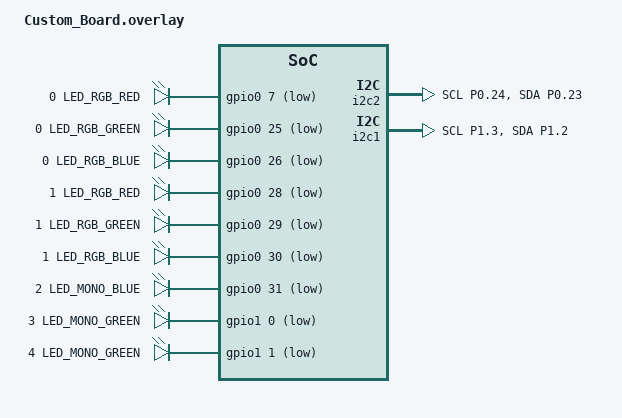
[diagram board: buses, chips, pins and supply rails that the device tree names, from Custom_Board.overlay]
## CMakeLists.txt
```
# SPDX-License-Identifier: Apache-2.0

cmake_minimum_required(VERSION 3.20.0)
find_package(Zephyr REQUIRED HINTS $ENV{ZEPHYR_BASE})
project(bap_broadcast_source)

target_sources(app PRIVATE
  src/main.c
)

if (CONFIG_USE_I2S_CODEC_INPUT)
  target_sources(app PRIVATE
    src/codec_sgtl5000.c
    src/i2c_helpers.c
    src/pmic.c
  )
endif()

if (CONFIG_USE_USB_AUDIO_INPUT)
  include(${ZEPHYR_BASE}/samples/subsys/usb/common/common.cmake)
endif()
```

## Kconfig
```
# Copyright (c) 2023 Demant A/S
# Copyright (c) 2023 Nordic Semiconductor ASA
# SPDX-License-Identifier: Apache-2.0

mainmenu "Bluetooth: Broadcast Audio Source"

choice BAP_LC3_PRESET
	prompt "The BAP LC3 Preset to be used"
	default BAP_BROADCAST_16_2_1

config BAP_BROADCAST_16_2_1
	bool "BAP_LC3_BROADCAST_PRESET_16_2_1 preset"
	help
	  Using the BAP_LC3_BROADCAST_PRESET_16_2_1 preset.

config BAP_BROADCAST_24_2_1
	bool "BAP_LC3_BROADCAST_PRESET_24_2_1 preset"
	help
	  Using the BAP_LC3_BROADCAST_PRESET_24_2_1 preset.

config BAP_BROADCAST_32_2_1
	bool "BAP_LC3_BROADCAST_PRESET_32_2_1 preset"
	help
	  Using the BAP_LC3_BROADCAST_PRESET_32_2_1 preset.

config BAP_BROADCAST_48_2_1
	bool "BAP_LC3_BROADCAST_PRESET_48_2_1 preset"
	help
	  Using the BAP_LC3_BROADCAST_PRESET_48_2_1 preset.

endchoice

config ENABLE_LC3
	bool "Enable the LC3 codec"
	# By default let's enable it in the platforms we know are capable of supporting it
	default y
	depends on CPU_HAS_FPU && \
		(ARCH_POSIX || SOC_COMPATIBLE_NRF52X || SOC_COMPATIBLE_NRF5340_CPUAPP)
	select LIBLC3
	select FPU

config ISO_PACKING_INTERLEAVED
	bool "Use interleaved packing"
	help
	  Use interleaved packing between BIS ISO stream subevents.

config USE_USB_AUDIO_INPUT
	bool "Use USB Audio as input"
	# By default, use the USB Audio path is disabled.
	default n
	depends on ENABLE_LC3
	select USB_DEVICE_STACK_NEXT
	select USBD_AUDIO2_CLASS
	select RING_BUFFER

config USE_I2S_CODEC_INPUT
	bool "Use SGTL5000 over I2S as input"
	default n
	depends on ENABLE_LC3
	depends on BOARD_NRF5340_AUDIO_DK_NRF5340_CPUAPP
	depends on !USE_USB_AUDIO_INPUT
	select I2C
	select I2S
	select RING_BUFFER
	help
	  Use the external SGTL5000 codec connected over I2S as the PCM source
	  for the broadcast streams.

config BROADCAST_CODE
	string "The broadcast code (if any) to use for encrypted broadcast"
	default ""
	help
	   Setting a non-empty string for this option will encrypt the broadcast using this
	   string as the broadcast code. The length of the string shall be between 1 and 16 octets.

config STATIC_BROADCAST_ID
	bool "Use static broadcast ID"
	default y
	help
	   Enabling this option will make the application use static broadcast ID, as opposed to a
	   randomly generated one.

config BROADCAST_ID
	hex "The static broadcast ID to use"
	range 0x000000 0xFFFFFF
	depends on STATIC_BROADCAST_ID
	help
	   This is the 3-octet broadcast ID advertised if static broadcast IDs are enabled.

# Source common USB sample options used to initialize new experimental USB device stack.
# The scope of these options is limited to USB samples in project tree,
# you cannot use them in your own application.
source "samples/subsys/usb/common/Kconfig.sample_usbd"

source "Kconfig.zephyr"
```

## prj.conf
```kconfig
CONFIG_MAIN_STACK_SIZE=2048

CONFIG_USE_USB_AUDIO_INPUT=n

CONFIG_BT=y
CONFIG_LOG=y
CONFIG_BT_AUDIO=y
CONFIG_BT_ISO_BROADCASTER=y
CONFIG_BT_BAP_BROADCAST_SOURCE=y

CONFIG_BT_ISO_MAX_CHAN=2
CONFIG_BT_BAP_BROADCAST_SRC_STREAM_COUNT=2
# Two streams in one subgroup (stereo)
CONFIG_BT_BAP_BROADCAST_SRC_SUBGROUP_COUNT=1

# Uncomment below to use Broadcast ISO interleaved packing
# CONFIG_ISO_PACKING_INTERLEAVED=y

CONFIG_BT_ISO_TX_BUF_COUNT=8
CONFIG_BT_ISO_TX_MTU=80

CONFIG_BT_DEVICE_NAME="Broadcast Audio Source"
CONFIG_BROADCAST_ID=0x123456

CONFIG_LIBLC3=y
CONFIG_BAP_BROADCAST_32_2_1=y
```

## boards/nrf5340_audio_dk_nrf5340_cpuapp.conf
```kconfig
# Use USB Audio as audio source
CONFIG_USE_USB_AUDIO_INPUT=n
CONFIG_USE_I2S_CODEC_INPUT=y
#CONFIG_SAMPLE_USBD_PRODUCT="USB Broadcast Source sample"
```

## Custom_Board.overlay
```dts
&{/} {
    leds {
        compatible = "gpio-leds";

        rgb1_red: led_0 {
			gpios = <&gpio0 7 (GPIO_ACTIVE_LOW | GPIO_OPEN_DRAIN)>;
			label = "0 LED_RGB_RED";
		};

		rgb1_green: led_1 {
			gpios = <&gpio0 25 (GPIO_ACTIVE_LOW | GPIO_OPEN_DRAIN)>;
			label = "0 LED_RGB_GREEN";
		};

		rgb1_blue: led_2 {
			gpios = <&gpio0 26 (GPIO_ACTIVE_LOW | GPIO_OPEN_DRAIN)>;
			label = "0 LED_RGB_BLUE";
		};

		rgb2_red: led_3 {
			gpios = <&gpio0 28 (GPIO_ACTIVE_LOW | GPIO_OPEN_DRAIN)>;
			label = "1 LED_RGB_RED";
		};

		rgb2_green: led_4 {
			gpios = <&gpio0 29 (GPIO_ACTIVE_LOW | GPIO_OPEN_DRAIN)>;
			label = "1 LED_RGB_GREEN";
		};

		rgb2_blue: led_5 {
			gpios = <&gpio0 30 (GPIO_ACTIVE_LOW | GPIO_OPEN_DRAIN)>;
			label = "1 LED_RGB_BLUE";
		};

		led1_blue: led_6 {
			gpios = <&gpio0 31 (GPIO_ACTIVE_LOW | GPIO_OPEN_DRAIN)>;
			label = "2 LED_MONO_BLUE";
		};

		led2_green: led_7 {
			gpios = <&gpio1 0 (GPIO_ACTIVE_LOW | GPIO_OPEN_DRAIN)>;
			label = "3 LED_MONO_GREEN";
		};

		led3_green: led_8 {
			gpios = <&gpio1 1 (GPIO_ACTIVE_LOW | GPIO_OPEN_DRAIN)>;
			label = "4 LED_MONO_GREEN";
		};
    };
};

&i2c2 {
    status = "okay";
    pinctrl-0 = <&i2c2_default>;
    pinctrl-1 = <&i2c2_sleep>;
    pinctrl-names = "default", "sleep";
};

&pinctrl {
    i2c2_default: i2c2_default {
        group1 {
            psels = <NRF_PSEL(TWIM_SCL, 0, 24)>, <NRF_PSEL(TWIM_SDA, 0, 23)>;
        };
    };

    i2c2_sleep: i2c2_sleep {
        group1 {
            psels = <NRF_PSEL(TWIM_SCL, 0, 24)>, <NRF_PSEL(TWIM_SDA, 0, 23)>;
        };
    };
};

&i2c1 {
    status = "okay";
    pinctrl-0 = <&i2c1_default>;
    pinctrl-1 = <&i2c1_sleep>;
    pinctrl-names = "default", "sleep";
};

&pinctrl {
    i2c1_default: i2c1_default {
        group1 {
            psels = <NRF_PSEL(TWIM_SCL, 1, 3)>,
                    <NRF_PSEL(TWIM_SDA, 1, 2)>;
        };
    };

    i2c1_sleep: i2c1_sleep {
        group1 {
            psels = <NRF_PSEL(TWIM_SCL, 1, 3)>,
                    <NRF_PSEL(TWIM_SDA, 1, 2)>;
        };
    };
};
```

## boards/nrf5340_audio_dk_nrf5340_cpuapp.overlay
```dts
/*
 * Copyright (c) 2025 Nordic Semiconductor ASA
 *
 * SPDX-License-Identifier: Apache-2.0
 */

#include "../app.overlay"

&arduino_adc {
	io-channel-map = <0 &adc 1>, <1 &adc 2>, <2 &adc 4>, <3 &adc 5>, <4 &adc 6>, <5 &adc 7>;
};

&comp {
	status = "okay";
};

&ieee802154 {
	status = "okay";
};

&nfct {
	status = "disabled";
};

&usbd {
	status = "disabled";
};

&i2c0 {
	status = "disabled";
};

&spi3 {
	status = "disabled";
};
```

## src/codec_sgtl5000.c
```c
#include <errno.h>

#include <zephyr/device.h>
#include <zephyr/drivers/i2c.h>
#include <zephyr/kernel.h>
#include <zephyr/sys/printk.h>
#include <zephyr/sys/util.h>

#include "codec_sgtl5000.h"
#include "i2c_helpers.h"

#define SGTL5000_ADDR      0x0A

#define CHIP_DIG_POWER     0x0002
#define CHIP_CLK_CTRL      0x0004
#define CHIP_I2S_CTRL      0x0006
#define CHIP_SSS_CTRL      0x000A
#define CHIP_ADCDAC_CTRL   0x000E
#define CHIP_DAC_VOL       0x0010
#define CHIP_ANA_ADC_CTRL  0x0020
#define CHIP_ANA_CTRL      0x0024
#define CHIP_LINREG_CTRL   0x0026
#define CHIP_REF_CTRL      0x0028
#define CHIP_LINE_OUT_CTRL 0x002C
#define CHIP_LINE_OUT_VOL  0x002E
#define CHIP_ANA_POWER     0x0030
#define CHIP_SHORT_CTRL    0x003C

#define BIT_SHIFT(x)       BIT(x)

static const struct device *const codec_i2c = DEVICE_DT_GET(DT_NODELABEL(i2c1));

#define TRY(expr)                 \
	do {                      \
		int ret = (expr); \
		if (ret != 0) {   \
			return ret; \
		}                 \
	} while (0)

static int codec_write(uint16_t reg, uint16_t val)
{
	return i2c_reg_write16_16(codec_i2c, SGTL5000_ADDR, reg, val);
}

static int codec_mod(uint16_t reg, uint16_t clear_mask, uint16_t set_mask)
{
	return i2c_reg_update16_16(codec_i2c, SGTL5000_ADDR, reg, clear_mask, set_mask);
}

int codec_init(void)
{
	if (!device_is_ready(codec_i2c)) {
		printk("CODEC: I2C not ready\n");
		return -ENODEV;
	}

	TRY(codec_write(CHIP_ANA_POWER, 0x4060));
	TRY(codec_mod(CHIP_LINREG_CTRL, ~(BIT_SHIFT(5) | BIT_SHIFT(6)),
		      BIT_SHIFT(5) | BIT_SHIFT(6)));
	TRY(codec_write(CHIP_REF_CTRL, 0x01DE));
	TRY(codec_mod(CHIP_LINE_OUT_CTRL, ~0x0322, 0x0322));
	TRY(codec_mod(CHIP_REF_CTRL, ~BIT_SHIFT(0), BIT_SHIFT(0)));
	TRY(codec_write(CHIP_SHORT_CTRL, 0x1106));
	TRY(codec_write(CHIP_ANA_CTRL, 0x0137));
	TRY(codec_mod(CHIP_ANA_POWER, ~0x000B, 0x000B));
	TRY(codec_mod(CHIP_ANA_POWER, ~0x0080, 0x0080));
	k_msleep(100);

	TRY(codec_write(CHIP_DIG_POWER, 0x0063));
	TRY(codec_write(CHIP_LINE_OUT_VOL, 0x0E0E));

	/* SYS_FS = 32 kHz, MCLK = 384 * Fs. */
	TRY(codec_mod(CHIP_CLK_CTRL, ~0x000F, 0x0001));

	/* Codec acts as I2S slave, 16-bit audio, SCLK = 64 * Fs. */
	TRY(codec_write(CHIP_I2S_CTRL, 0x0030));

	/* Route ADC to I2S_DOUT and I2S_IN to DAC. */
	TRY(codec_write(CHIP_SSS_CTRL, 0x0010));
	TRY(codec_mod(CHIP_ANA_CTRL, ~0x0101, 0x0000));
	TRY(codec_write(CHIP_ANA_ADC_CTRL, 0x0144));
	TRY(codec_mod(CHIP_ANA_CTRL, ~0x0100, 0x0100));
	TRY(codec_write(CHIP_DAC_VOL, 0x3C3C));
	TRY(codec_mod(CHIP_ADCDAC_CTRL, ~0x000C, 0x0000));
	TRY(codec_mod(CHIP_ADCDAC_CTRL, ~0x0300, 0x0300));
	TRY(codec_mod(CHIP_ANA_CTRL, ~0x0100, 0x0000));

	return 0;
}
```

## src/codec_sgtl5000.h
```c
#pragma once

int codec_init(void);
```

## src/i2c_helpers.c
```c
#include <zephyr/drivers/i2c.h>

#include "i2c_helpers.h"

int i2c_reg_write16(const struct device *i2c, uint8_t addr, uint16_t reg, uint8_t val)
{
	uint8_t buf[3];

	buf[0] = (reg >> 8) & 0xFF;
	buf[1] = reg & 0xFF;
	buf[2] = val;

	return i2c_write(i2c, buf, sizeof(buf), addr);
}

int i2c_reg_read16(const struct device *i2c, uint8_t addr, uint16_t reg, uint8_t *val)
{
	uint8_t addr_buf[2];

	addr_buf[0] = (reg >> 8) & 0xFF;
	addr_buf[1] = reg & 0xFF;

	return i2c_write_read(i2c, addr, addr_buf, sizeof(addr_buf), val, sizeof(*val));
}

int i2c_reg_write16_16(const struct device *i2c, uint8_t addr, uint16_t reg, uint16_t val)
{
	uint8_t buf[4];

	buf[0] = (reg >> 8) & 0xFF;
	buf[1] = reg & 0xFF;
	buf[2] = (val >> 8) & 0xFF;
	buf[3] = val & 0xFF;

	return i2c_write(i2c, buf, sizeof(buf), addr);
}

int i2c_reg_read16_16(const struct device *i2c, uint8_t addr, uint16_t reg, uint16_t *val)
{
	uint8_t addr_buf[2];
	uint8_t data[2];
	int ret;

	addr_buf[0] = (reg >> 8) & 0xFF;
	addr_buf[1] = reg & 0xFF;

	ret = i2c_write_read(i2c, addr, addr_buf, sizeof(addr_buf), data, sizeof(data));
	if (ret != 0) {
		return ret;
	}

	*val = ((uint16_t)data[0] << 8) | data[1];

	return 0;
}

int i2c_reg_update16_16(const struct device *i2c, uint8_t addr, uint16_t reg,
			uint16_t clear_mask, uint16_t set_value)
{
	uint16_t val;
	int ret;

	ret = i2c_reg_read16_16(i2c, addr, reg, &val);
	if (ret != 0) {
		return ret;
	}

	val = (val & clear_mask) | set_value;

	return i2c_reg_write16_16(i2c, addr, reg, val);
}
```

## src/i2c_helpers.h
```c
#pragma once

#include <stdint.h>
#include <zephyr/device.h>

int i2c_reg_write16(const struct device *i2c, uint8_t addr, uint16_t reg, uint8_t val);
int i2c_reg_read16(const struct device *i2c, uint8_t addr, uint16_t reg, uint8_t *val);
int i2c_reg_write16_16(const struct device *i2c, uint8_t addr, uint16_t reg, uint16_t val);
int i2c_reg_read16_16(const struct device *i2c, uint8_t addr, uint16_t reg, uint16_t *val);
int i2c_reg_update16_16(const struct device *i2c, uint8_t addr, uint16_t reg,
			uint16_t clear_mask, uint16_t set_value);
```

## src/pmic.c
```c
#include <zephyr/kernel.h>
#include <zephyr/drivers/i2c.h>
#include <zephyr/sys/printk.h>
#include <zephyr/device.h>
#include "i2c_helpers.h"

/* ===================== CONFIG ===================== */

#define NPM1304_ADDR        0x6B

/* ===================== BUCKs ===================== */

#define BUCK_STATUS_REG     0x0434
#define BUCK1_VOUT_REG      0x0408
#define BUCK2_VOUT_REG      0x040A
#define BUCK_SW_CTRL_REG    0x040F

#define BUCK1_VOUT_VAL      24U
#define BUCK2_VOUT_VAL      24U
#define BUCK_SW_ENABLE_ALL  0x03

/* ===================== LDOs ====================== */

#define LDO_STATUS_REG      0x0804
#define LDO1_MODE_REG       0x0808
#define LDO2_MODE_REG       0x0809
#define LDO1_VOUT_REG       0x080C
#define LDO2_VOUT_REG       0x080D
#define LDO1_SET_REG        0x0800
#define LDO2_SET_REG        0x0802

#define LDO1_VOUT_VAL       1U
#define LDO2_VOUT_VAL       8U

#define LDO_MODE_ENABLE     1U
#define LDO_ENABLE          1U

/* ===================== LEDs ====================== */

#define LED0_MODE_REG       0x0A00
#define LED1_MODE_REG       0x0A01
#define LED2_MODE_REG       0x0A02

#define LED0_SET_REG        0x0A03
#define LED0_CLR_REG        0x0A04
#define LED1_SET_REG        0x0A05
#define LED1_CLR_REG        0x0A06
#define LED2_SET_REG        0x0A07
#define LED2_CLR_REG        0x0A08

#define LED_MODE_HOST       0x02

static const uint16_t led_mode_regs[] = {
    LED0_MODE_REG,
    LED1_MODE_REG,
    LED2_MODE_REG
};

static const uint16_t led_set_regs[] = {
    LED0_SET_REG,
    LED1_SET_REG,
    LED2_SET_REG
};

static const uint16_t led_clr_regs[] = {
    LED0_CLR_REG,
    LED1_CLR_REG,
    LED2_CLR_REG
};

/* ===================== I2C ====================== */

static const struct device *i2c = DEVICE_DT_GET(DT_NODELABEL(i2c2));

/* ===================== HELPERS ===================== */

#define TRY(x) do { int r = (x); if (r) return r; } while (0)

static int pmic_reg_write(uint16_t reg, uint8_t val)
{
    return i2c_reg_write16(i2c, NPM1304_ADDR, reg, val);
}

static int pmic_reg_read(uint16_t reg, uint8_t *val)
{
    return i2c_reg_read16(i2c, NPM1304_ADDR, reg, val);
}

/* ===================== INIT SECTIONS ===================== */

static int pmic_init_bucks(void)
{
    TRY(pmic_reg_write(BUCK1_VOUT_REG, 10U));
    k_msleep(2);

    TRY(pmic_reg_write(BUCK2_VOUT_REG, BUCK2_VOUT_VAL));
    k_msleep(2);

    TRY(pmic_reg_write(BUCK_SW_CTRL_REG, BUCK_SW_ENABLE_ALL));
    k_msleep(2);

    if (BUCK1_VOUT_VAL>10)
    {
        for (unsigned int voltage = 11U; voltage <= BUCK1_VOUT_VAL; ++voltage)
        {
            TRY(pmic_reg_write(BUCK1_VOUT_REG, voltage));
            k_msleep(2);
        }
    }else
    {
        printk("Forbidden output voltage value!");
    }

    return 0;
}

static int pmic_init_ldos(void)
{
    TRY(pmic_reg_write(LDO1_VOUT_REG, LDO1_VOUT_VAL));
    k_msleep(2);

    TRY(pmic_reg_write(LDO2_VOUT_REG, LDO2_VOUT_VAL));
    k_msleep(2);

    TRY(pmic_reg_write(LDO1_MODE_REG, LDO_MODE_ENABLE));
    k_msleep(2);

    TRY(pmic_reg_write(LDO2_MODE_REG, LDO_MODE_ENABLE));
    k_msleep(2);

	
    TRY(pmic_reg_write(LDO1_SET_REG, LDO_ENABLE));
    k_msleep(2);
	
	for (unsigned int voltage = 2U; voltage <= 22U; ++voltage)
        {
            TRY(pmic_reg_write(LDO1_VOUT_REG, voltage));
            k_msleep(10);
        }

    TRY(pmic_reg_write(LDO2_SET_REG, LDO_ENABLE));
    k_msleep(20);
    

    return 0;
}

static int pmic_init_leds(void)
{
    for (int i = 0; i < 3; i++) {
        TRY(pmic_reg_write(led_mode_regs[i], LED_MODE_HOST));
        k_msleep(2);
    }

    return 0;
}

/* ===================== PUBLIC API ===================== */

int pmic_init(void)
{
    if (!device_is_ready(i2c)) {
        printk("PMIC: I2C not ready\n");
        return -ENODEV;
    }

    int ret;

    ret = pmic_init_bucks();
    if (ret) goto error;

    
    ret = pmic_init_ldos();
    if (ret) goto error;
    

    ret = pmic_init_leds();
    if (ret) goto error;

    printk("PMIC init OK\n");
    return 0;

error:
    printk("PMIC init failed: %d\n", ret);
    return ret;
}

void pmic_debug_dump(void)
{
    uint8_t val;

    printk("\n=== PMIC STATUS ===\n");

    if (!pmic_reg_read(BUCK_STATUS_REG, &val))
        printk("BUCK STATUS: 0x%02X\n", val);
    else
        printk("BUCK STATUS: ERROR\n");

    if (!pmic_reg_read(LDO_STATUS_REG, &val))
        printk("LDO STATUS: 0x%02X\n", val);
    else
        printk("LDO STATUS: ERROR\n");

    if (!pmic_reg_read(BUCK1_VOUT_REG, &val))
        printk("BUCK1 VOUT: %d\n", val);

    if (!pmic_reg_read(BUCK2_VOUT_REG, &val))
        printk("BUCK2 VOUT: %d\n", val);

    if (!pmic_reg_read(LDO1_VOUT_REG, &val))
        printk("LDO1 VOUT: %d\n", val);

    if (!pmic_reg_read(LDO2_VOUT_REG, &val))
        printk("LDO2 VOUT: %d\n", val);

    printk("====================\n\n");
}

/* ===================== LED CONTROL ===================== */

void pmic_led_on(int led)
{
    if (led < 0 || led > 2)
        return;

    pmic_reg_write(led_set_regs[led], 1);
}

void pmic_led_off(int led)
{
    if (led < 0 || led > 2)
        return;

    pmic_reg_write(led_clr_regs[led], 1);
}
```
